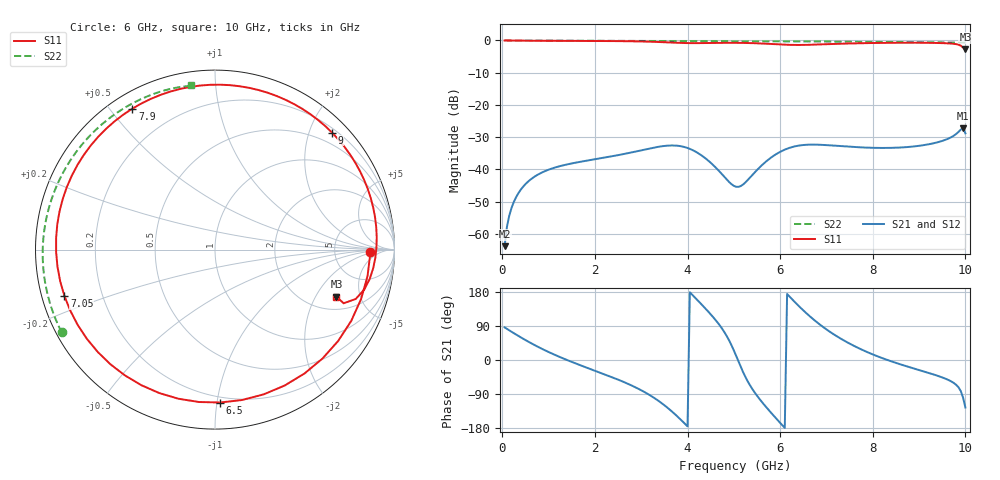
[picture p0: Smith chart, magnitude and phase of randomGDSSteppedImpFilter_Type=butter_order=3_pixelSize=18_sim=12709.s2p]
! freq	dB(S11)	phase(S11)	dB(S12)	phase(S12)
!  dB(S21)	phase(S21)	dB(S22)	phase(S22)
!S-par simulation data
#  GHz  S  DB  R 50
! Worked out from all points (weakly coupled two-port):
!   200 points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, 50 MHz to 10 GHz, reference 50 ohm
!   highest |S21| = -27.22 dB at 9.95 GHz (marker M1); lowest = -63.8 dB at 50 MHz (marker M2)
!   lowest |S11| = -2.8 dB at 10 GHz (marker M3), VSWR 6.28, Z = 137 - j151 ohm
!   |S11| at or under -10 dB: nowhere
!   |S22| runs from -0.7 to 0.0 dB; largest |S21 - S12| = 0
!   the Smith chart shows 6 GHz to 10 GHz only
!   S11 on the Smith chart (normalised r, x): 6 GHz: 14, -2; 6.5 GHz: 0.16, -1.02; 7.05 GHz: 0.07, -0.15; 7.9 GHz: 0.06, +0.57; 9 GHz: 0.27, +2.39; 10 GHz: 2.73, -3.02
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0.05  -0.00 -6.4  -63.84 86.0  -63.84 86.0  -0.00 -1.4
0.25  -0.04 -31.4  -50.08 70.7  -50.08 70.7  -0.01 -7.0
0.75  -0.10 -87.5  -41.79 36.0  -41.79 36.0  -0.03 -20.9
1.75  -0.15 -169.9  -37.49 -16.8  -37.49 -16.8  -0.06 -48.0
2.3  -0.18 151.0  -36.13 -42.1  -36.13 -42.1  -0.08 -62.5
2.8  -0.26 111.0  -34.72 -67.7  -34.72 -67.7  -0.10 -75.2
3.4  -0.49 43.9  -32.93 -110.2  -32.93 -110.2  -0.12 -90.2
3.75  -0.71 -12.6  -32.63 -145.4  -32.63 -145.4  -0.13 -98.7
4.15  -0.84 -87.5  -34.33 166.1  -34.33 166.1  -0.15 -108.2
4.6  -0.76 -161.7  -39.31 106.3  -39.31 106.3  -0.17 -118.9
5.05  -0.74 137.9  -45.42 10.8  -45.42 10.8  -0.19 -129.4
5.55  -0.91 71.2  -39.48 -102.2  -39.48 -102.2  -0.23 -141.1
6  -1.25 -1.1  -34.57 -165.9  -34.57 -165.9  -0.26 -151.7
6.5  -1.39 -88.0  -32.45 131.0  -32.45 131.0  -0.30 -163.5
6.7  -1.31 -118.5  -32.32 109.1  -32.32 109.1  -0.32 -168.4
7.05  -1.13 -163.0  -32.53 76.4  -32.53 76.4  -0.35 -176.9
7.9  -0.82 120.4  -33.28 19.9  -33.28 19.9  -0.43 161.2
8.35  -0.73 88.2  -33.35 -1.4  -33.35 -1.4  -0.47 148.9
9  -0.71 44.9  -32.70 -26.5  -32.70 -26.5  -0.54 130.0
9.55  -0.85 8.0  -30.93 -48.3  -30.93 -48.3  -0.60 112.7
9.95  -2.20 -22.6  -27.22 -99.2  -27.22 -99.2  -0.69 99.6
10  -2.79 -21.2  -28.83 -125.3  -28.83 -125.3  -0.68 98.2
